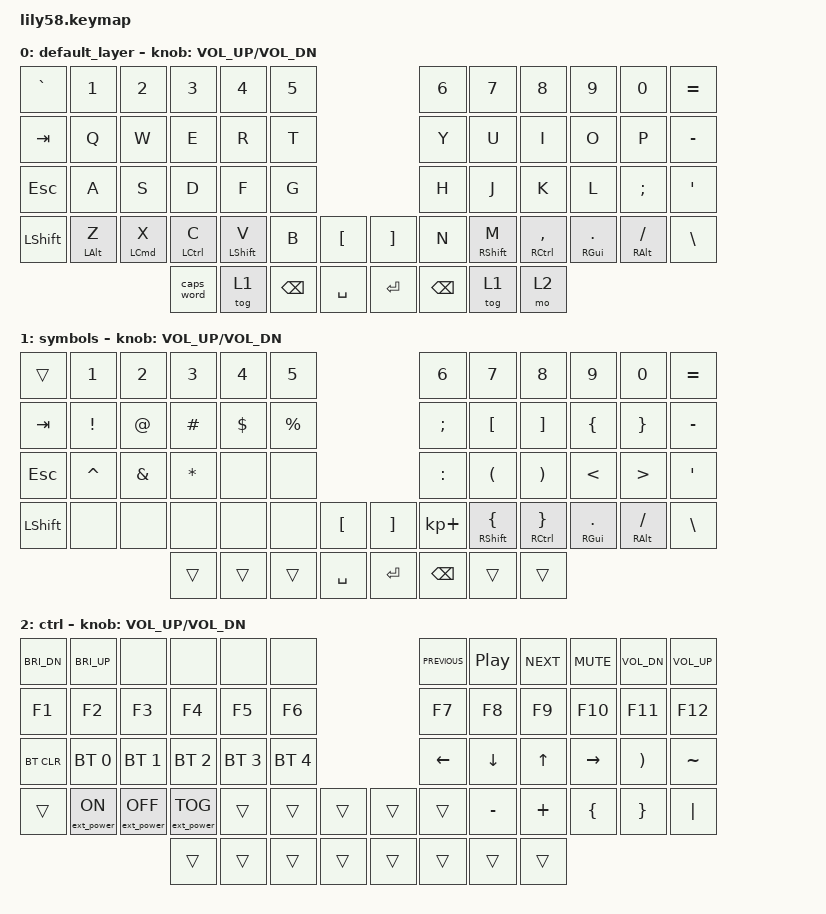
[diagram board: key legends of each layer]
/*
 * Copyright (c) 2020 The ZMK Contributors
 *
 * SPDX-License-Identifier: MIT
 */

#include <behaviors.dtsi>
#include <dt-bindings/zmk/bt.h>
#include <dt-bindings/zmk/ext_power.h>
#include <dt-bindings/zmk/keys.h>

/ {
    combos {
        compatible = "zmk,combos";

        combo_esc {
            timeout-ms = <50>;
            key-positions = <0 1>;
            bindings = <&kp ESC>;
        };
    };

    behaviors {
        ss_hs_modmorph: ss_hs_modmorph {
            compatible = "zmk,behavior-mod-morph";
            label = "SS_HS_MODMORPH";
            bindings = <&kp M>, <&kp RIGHT_BRACKET>;

            #binding-cells = <0>;
            mods = <(MOD_LSFT|MOD_RSFT)>;
        };

        kh_hs_tapdance: kh_hs_tapdance {
            compatible = "zmk,behavior-tap-dance";
            label = "KH_HS_TAPDANCE";
            #binding-cells = <0>;
            tapping-term-ms = <200>;
            bindings = <&kp LEFT_BRACKET>, <&kp RIGHT_BRACKET>;
        };

        hrm: hrm {
            compatible = "zmk,behavior-hold-tap";
            #binding-cells = <2>;
            flavor = "tap-preferred";
            tapping-term-ms = <200>;
            quick-tap-ms = <200>;
            require-prior-idle-ms = <125>;
            bindings = <&kp>, <&kp>;
        };
    };

    keymap {
        compatible = "zmk,keymap";

        default_layer {
            // ------------------------------------------------------------------------------------------------------------
            // |  ESC  |  1  |  2  |  3   |  4   |  5   |                   |  6   |  7    |  8    |  9   |   0   |   `   |
            // |  TAB  |  Q  |  W  |  E   |  R   |  T   |                   |  Y   |  U    |  I    |  O   |   P   |   -   |
            // |  CTRL |  A  |  S  |  D   |  F   |  G   |                   |  H   |  J    |  K    |  L   |   ;   |   '   |
            // | SHIFT |  Z  |  X  |  C   |  V   |  B   |   "["  |  |  "]"  |  N   |  M    |  ,    |  .   |   /   | SHIFT |
            //                     | ALT  | GUI  | LOWER|  SPACE |  | ENTER | RAISE| BSPC  | GUI   |

            bindings = <
&kp GRAVE   &kp N1           &kp N2       &kp N3        &kp N4        &kp N5                                &kp N6         &kp N7        &kp N8            &kp N9              &kp N0           &kp EQUAL
&kp TAB     &kp Q            &kp W        &kp E         &kp R         &kp T                                 &kp Y          &kp U         &kp I             &kp O               &kp P            &kp MINUS
&kp ESCAPE  &kp A            &kp S        &kp D         &kp F         &kp G                                 &kp H          &kp J         &kp K             &kp L               &kp SEMI         &kp SQT
&kp LSHFT   &hrm LEFT_ALT Z  &hrm LCMD X  &hrm LCTRL C  &hrm LSHFT V  &kp B          &kp LBKT     &kp RBKT  &kp N          &hrm RSHFT M  &hrm RCTRL COMMA  &hrm RIGHT_GUI DOT  &hrm RALT SLASH  &kp BACKSLASH
                                          &caps_word    &tog 1        &kp BACKSPACE  &kp SPACE    &kp RET   &kp BACKSPACE  &tog 1        &mo 2
            >;

            sensor-bindings = <&inc_dec_kp C_VOL_UP C_VOL_DN>;
        };

        symbols {
            // ------------------------------------------------------------------------------------------------------------
            // |       |     |     |      |      |      |                   |      |       |       |      |       |       |
            // |   `   |  1  |  2  |  3   |  4   |  5   |                   |  6   |   7   |   8   |  9   |   0   |       |
            // |   F1  |  F2 |  F3 |  F4  |  F5  |  F6  |                   |      |   <-  |   v   |  ^   |  ->   |       |
            // |   F7  |  F8 |  F9 |  F10 |  F11 |  F12 |        |  |       |  +   |   -   |   =   |  [   |   ]   |   \   |
            //                     |      |      |      |        |  |       |      |       |       |

            bindings = <
&trans          &kp NUMBER_1     &kp NUMBER_2   &kp NUMBER_3  &kp NUMBER_4  &kp N5                                              &kp NUMBER_6   &kp N7                 &kp N8                  &kp N9              &kp N0                &kp EQUAL
&kp TAB         &kp EXCLAMATION  &kp AT_SIGN    &kp POUND     &kp DOLLAR    &kp PERCENT                                         &kp SEMICOLON  &kp LBKT               &kp RBKT                &kp LEFT_BRACE      &kp RIGHT_BRACE       &kp MINUS
&kp ESCAPE      &kp CARET        &kp AMPERSAND  &kp ASTERISK  &none         &none                                               &kp COLON      &kp LEFT_PARENTHESIS   &kp RIGHT_PARENTHESIS   &kp LESS_THAN       &kp GREATER_THAN      &kp SQT
&kp LEFT_SHIFT  &none            &none          &none         &none         &none        &kp LEFT_BRACKET    &kp RIGHT_BRACKET  &kp KP_PLUS    &hrm RSHFT LEFT_BRACE  &hrm RCTRL RIGHT_BRACE  &hrm RIGHT_GUI DOT  &hrm RIGHT_ALT SLASH  &kp BSLH
                                                &trans        &trans        &trans       &kp SPACE           &kp ENTER          &kp BACKSPACE  &trans                 &trans
            >;

            sensor-bindings = <&inc_dec_kp C_VOL_UP C_VOL_DN>;
        };

        ctrl {
            // ------------------------------------------------------------------------------------------------------------
            // | BTCLR | BT1 | BT2 |  BT3 |  BT4 |  BT5 |                   |      |       |       |      |       |       |
            // |  F1   |  F2 |  F3 |  F4  |  F5  |  F6  |                   |  F7  |  F8   |  F9   |  F10 |  F11  |  F12  |
            // |   `   |  !  |  @  |  #   |  $   |  %   |                   |  ^   |  &    |  *    |  (   |   )   |   ~   |
            // |       |     |     |      |      |      |        |  |       |      |  _    |  +    |  {   |   }   |  "|"  |
            //                     |      |      |      |        |  |       |      |       |       |

            bindings = <
&kp C_BRI_DN  &kp C_BRI_UP      &none              &none              &none         &none                           &kp C_PREVIOUS  &kp C_PP   &kp C_NEXT    &kp K_MUTE  &kp C_VOL_DN  &kp C_VOLUME_UP
&kp F1        &kp F2            &kp F3             &kp F4             &kp F5        &kp F6                          &kp F7          &kp F8     &kp F9        &kp F10     &kp F11       &kp F12
&bt BT_CLR    &bt BT_SEL 0      &bt BT_SEL 1       &bt BT_SEL 2       &bt BT_SEL 3  &bt BT_SEL 4                    &kp LEFT_ARROW  &kp DOWN   &kp UP_ARROW  &kp RIGHT   &kp RPAR      &kp TILDE
&trans        &ext_power EP_ON  &ext_power EP_OFF  &ext_power EP_TOG  &trans        &trans        &trans    &trans  &trans          &kp MINUS  &kp PLUS      &kp LBRC    &kp RBRC      &kp PIPE
                                                   &trans             &trans        &trans        &trans    &trans  &trans          &trans     &trans
            >;

            sensor-bindings = <&inc_dec_kp C_VOL_UP C_VOL_DN>;
        };
    };
};
